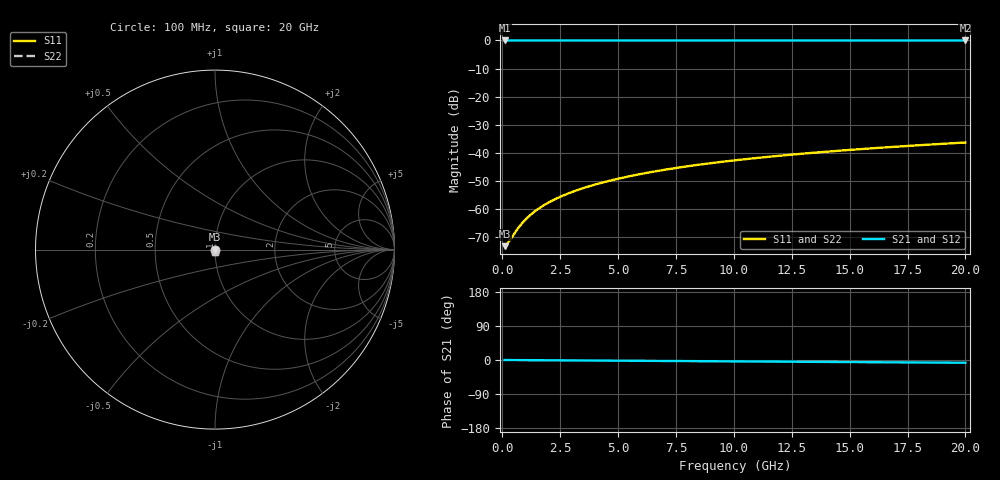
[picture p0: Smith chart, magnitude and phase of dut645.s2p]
! Touchstone file exported from HFSS 2026.1.0
!  File:  C:/ffzhzh/LocalFiles/Ansys_Project_Files/temp_train_TSV_645_1783026538_4048.aedt
!  Generated:  05:10:50 AM Jul  3, 2026
!  Design:  TSV
!  Project:  temp_train_TSV_645_1783026538_4048
! Variables:
!  h_bsmrdl = 2um
!  h_ox = 20um
!  h_rdl = 5um
!  h_sub = 75.91um
!  h_tmrdl = 5um
!  h_tsv = 75.91um
!  h_via = 3um
!  l_bsmrdl = 300um
!  l_sub = 414.12um
!  l_tmrdl = 200um
!  m_sub = 200um
!  pitch = 25.44um
!  r_tsv = 7.06um
!  s_tmrdl = 10um
!  w_bsmrdl = 18um
!  w_sub = 500um
!  w_tmrdl = 12um
!  x_tsv_center1 = 206um
!  x_tsv_center2 = 524um
!  x_tsv_center3 = 736um
!  x_tsv_center4 = 1054um
!  x_tsv_center5 = 1266um
!  x_tsv_center6 = 1584um
# GHz S MA R 50.000000
! Terminal data exported
! Port[1] = TSV1_1_T1
! Port[2] = TSV1_1_T2
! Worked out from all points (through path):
!   200 points, 100 MHz to 20 GHz, reference 50 ohm
!   highest |S21| = 0.00 dB at 100 MHz (marker M1); lowest = 0.0 dB at 20 GHz (marker M2)
!   group delay of S21, straight-line fit = 1 ps
!   lowest |S11| = -73.2 dB at 100 MHz (marker M3), VSWR 1.00, Z = 50 - j0.00234 ohm
!   |S11| at or under -10 dB: start of sweep to end of sweep
!   |S22| runs from -73.2 to -36.3 dB; largest |S21 - S12| = 4.6e-15
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0.1  0.0002198 -6.1  0.9998 -0.0  0.9998 -0.0  0.0002198 -6.1
! Gamma 0 0 0 0
! Port Impedance 50 0 50 0
0.2  0.0002396 -12.3  0.9998 -0.1  0.9998 -0.1  0.0002396 -12.3
0.3  0.0002708 -18.3  0.9997 -0.1  0.9997 -0.1  0.0002708 -18.3
0.6  0.0004115 -34.5  0.9997 -0.2  0.9997 -0.2  0.0004115 -34.5
0.7  0.0004681 -38.9  0.9996 -0.3  0.9996 -0.3  0.0004681 -38.9
0.9  0.0005887 -46.2  0.9996 -0.3  0.9996 -0.3  0.0005887 -46.2
1.2  0.0007799 -54.1  0.9995 -0.5  0.9995 -0.5  0.0007799 -54.1
1.5  0.0009772 -59.6  0.9995 -0.6  0.9995 -0.6  0.0009772 -59.6
1.9  0.001246 -64.6  0.9994 -0.7  0.9994 -0.7  0.001246 -64.6
2.4  0.001589 -68.7  0.9994 -0.9  0.9994 -0.9  0.001589 -68.7
2.9  0.001939 -71.4  0.9993 -1.1  0.9993 -1.1  0.001939 -71.4
3.5  0.002369 -73.8  0.9993 -1.3  0.9993 -1.3  0.002369 -73.8
4.2  0.002881 -75.8  0.9992 -1.5  0.9992 -1.5  0.002881 -75.8
5  0.003478 -77.6  0.9991 -1.8  0.9991 -1.8  0.003478 -77.6
5.9  0.004163 -79.2  0.9991 -2.2  0.9991 -2.2  0.004163 -79.2
6.8  0.004856 -80.5  0.999 -2.5  0.999 -2.5  0.004856 -80.5
8.3  0.006024 -82.3  0.9989 -3.0  0.9989 -3.0  0.006024 -82.3
10.1  0.007437 -84.2  0.9987 -3.7  0.9987 -3.7  0.007437 -84.2
11.7  0.008699 -85.5  0.9986 -4.2  0.9986 -4.2  0.008699 -85.5
13.4  0.01004 -86.8  0.9985 -4.9  0.9985 -4.9  0.01004 -86.8
16.7  0.01267 -88.9  0.9983 -6.0  0.9983 -6.0  0.01267 -88.9
20  0.01533 -90.7  0.9981 -7.2  0.9981 -7.2  0.01533 -90.7
